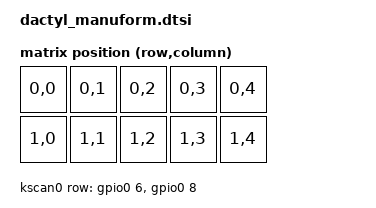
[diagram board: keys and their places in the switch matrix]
#include <dt-bindings/zmk/matrix_transform.h>

/ {
    chosen {
        zmk,kscan = &kscan0;
        zmk,matrix_transform = &default_transform;
    };

    default_transform: keymap_transform_0 {
        compatible = "zmk,matrix-transform";
        columns = <5>;
        rows = <2>;     // Adding second row

        map = <
            RC(0,0) RC(0,1) RC(0,2) RC(0,3) RC(0,4)
            RC(1,0) RC(1,1) RC(1,2) RC(1,3) RC(1,4)
            /* Commented out for gradual testing
            RC(2,0) RC(2,1) RC(2,2) RC(2,3) RC(2,4)          RC(2,9) RC(2,8) RC(2,7) RC(2,6) RC(2,5)
                    RC(3,1) RC(3,2) RC(3,3)                        RC(3,7) RC(3,6)
                    RC(4,0) RC(4,1) RC(4,2) RC(4,4)          RC(3,9) RC(3,8)
                                                             RC(4,9) RC(4,8)
                                                             RC(4,7)
            */
        >;
    };

    kscan0: kscan {
        compatible = "zmk,kscan-gpio-matrix";
        label = "KSCAN";
        diode-direction = "col2row";
        row-gpios
            = <&gpio0 6 (GPIO_ACTIVE_HIGH | GPIO_PULL_DOWN)>    // pin 006 - Row 0 (Q,W,E,R,T)
            , <&gpio0 8 (GPIO_ACTIVE_HIGH | GPIO_PULL_DOWN)>    // pin 008 - Row 1 (A,S,D,F,G)
            /* Commented out for gradual testing
            , <&gpio0 17 (GPIO_ACTIVE_HIGH | GPIO_PULL_DOWN)>   // pin 017
            , <&gpio0 20 (GPIO_ACTIVE_HIGH | GPIO_PULL_DOWN)>   // pin 020
            , <&gpio0 22 (GPIO_ACTIVE_HIGH | GPIO_PULL_DOWN)>   // pin 022
            */
            ;
    };
};
